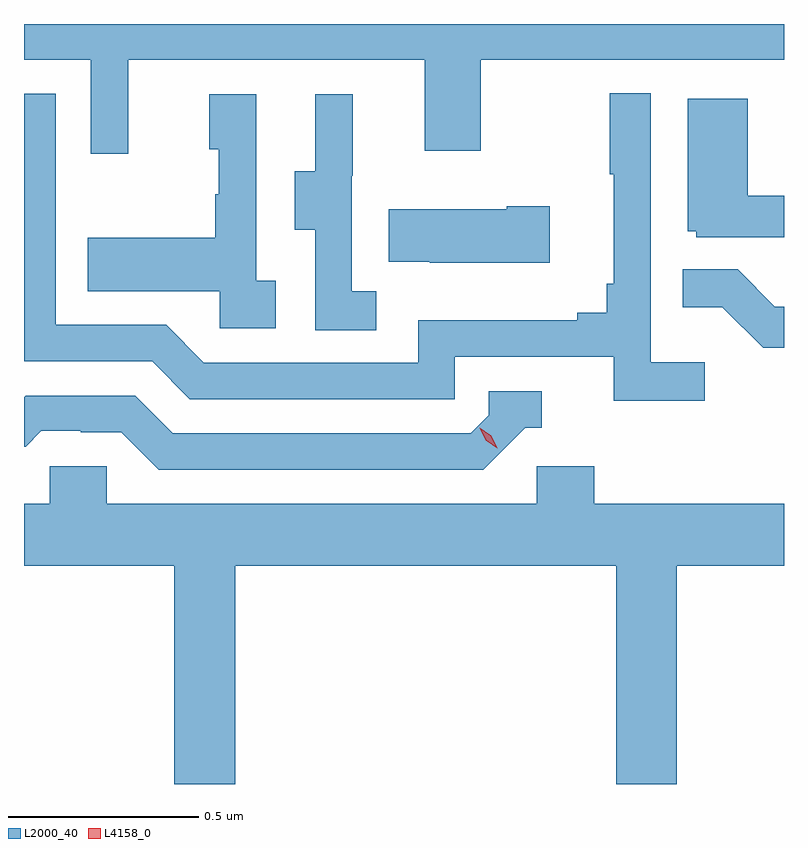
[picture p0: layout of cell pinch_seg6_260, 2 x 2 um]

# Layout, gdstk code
import gdstk
lib = gdstk.Library(unit=1e-6, precision=1e-09)
def P(c, l, *ps):  # polygons
    for p in ps: c.add(gdstk.Polygon(p, *l))
L2000_40 = (2000, 40)
L4158_0 = (4158, 0)

pinch_seg6_260 = lib.new_cell('pinch_seg6_260')
P(pinch_seg6_260, L2000_40, [(1091.165,918.032),(1091.945,918.032),(1091.945,917.793),(1092.093,917.793),(1092.093,918.032),(1092.891,918.032),(1092.891,918.126),(1090.891,918.126),(1090.891,918.032),(1091.067,918.032),(1091.067,917.784),(1091.165,917.784)],
  [(1092.682,917.236),(1092.54,917.236),(1092.54,917.944),(1092.432,917.944),(1092.432,917.731),(1092.443,917.731),(1092.443,917.443),(1092.424,917.443),(1092.424,917.366),(1092.347,917.366),(1092.347,917.347),(1091.928,917.347),(1091.928,917.235),(1091.364,917.235),(1091.265,917.334),(1090.974,917.334),(1090.974,917.943),(1090.891,917.943),(1090.891,917.238),(1091.228,917.238),(1091.327,917.139),(1092.024,917.139),(1092.024,917.25),(1092.443,917.25),(1092.443,917.134),(1092.682,917.134)],
  [(1091.554,917.45),(1091.502,917.45),(1091.502,917.941),(1091.378,917.941),(1091.378,917.796),(1091.404,917.796),(1091.404,917.678),(1091.394,917.678),(1091.394,917.563),(1091.059,917.563),(1091.059,917.423),(1091.406,917.423),(1091.406,917.325),(1091.554,917.325)],
  [(1091.818,917.423),(1091.754,917.423),(1091.754,917.727),(1091.756,917.727),(1091.756,917.941),(1091.657,917.941),(1091.657,917.739),(1091.603,917.739),(1091.603,917.584),(1091.658,917.584),(1091.658,917.32),(1091.818,917.32)],
  [(1092.891,917.674),(1092.796,917.674),(1092.796,917.929),(1092.638,917.929),(1092.638,917.58),(1092.66,917.58),(1092.66,917.565),(1092.891,917.565)],
  [(1092.274,917.646),(1092.161,917.646),(1092.161,917.638),(1091.851,917.638),(1091.851,917.501),(1091.959,917.501),(1091.959,917.498),(1092.274,917.498)],
  [(1092.891,917.382),(1092.867,917.382),(1092.769,917.48),(1092.625,917.48),(1092.625,917.381),(1092.729,917.381),(1092.836,917.274),(1092.891,917.274)],
  [(1092.21,917.064),(1092.253,917.064),(1092.253,917.16),(1092.114,917.16),(1092.114,917.097),(1092.066,917.049),(1091.283,917.049),(1091.184,917.148),(1090.895,917.148),(1090.891,917.144),(1090.891,917.013),(1090.895,917.013),(1090.937,917.055),(1091.04,917.055),(1091.04,917.052),(1091.147,917.052),(1091.246,916.953),(1092.099,916.953)],
  [(1091.447,916.7),(1092.449,916.7),(1092.449,916.126),(1092.609,916.126),(1092.609,916.7),(1092.891,916.7),(1092.891,916.864),(1092.392,916.864),(1092.392,916.962),(1092.24,916.962),(1092.24,916.864),(1091.109,916.864),(1091.109,916.962),(1090.959,916.962),(1090.959,916.864),(1090.891,916.864),(1090.891,916.7),(1091.287,916.7),(1091.287,916.126),(1091.447,916.126)])
P(pinch_seg6_260, L4158_0, [(1092.136,917.01),(1092.106,917.03),(1092.09,917.063),(1092.09,917.063),(1092.09,917.063),(1092.121,917.043),(1092.136,917.01),(1092.136,917.01)])

lib.write_gds('pinch_seg6_260.gds')
